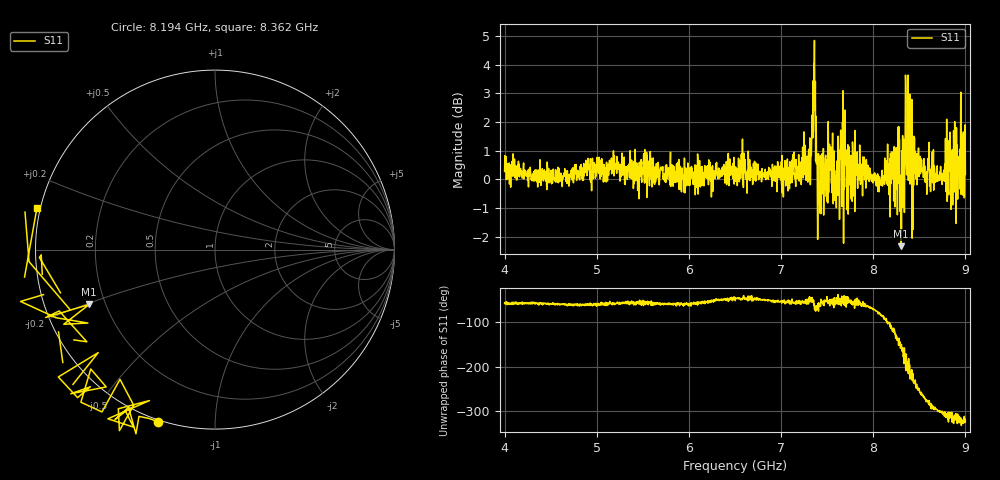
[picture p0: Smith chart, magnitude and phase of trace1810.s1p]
! Created with skrf 1.8.0 (http://scikit-rf.org).
# Hz S RI R 50.0
!freq ReS11 ImS11
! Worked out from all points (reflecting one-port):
!   1601 points, 4 GHz to 9 GHz, reference 50 ohm
!   lowest |S11| = -2.3 dB at 8.3 GHz (marker M1), VSWR 7.51, Z = 6.94 - j10.2 ohm
!   phase of S11 starts at -57 deg and turns -265 deg over the sweep
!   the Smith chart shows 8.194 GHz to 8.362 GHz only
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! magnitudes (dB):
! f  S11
! 4 GHz  0.3
! 4.625 GHz  -0.2
! 5.25 GHz  0.0
! 5.875 GHz  0.4
! 6.5 GHz  0.3
! 7.125 GHz  0.8
! 7.297 GHz  0.9
! 7.356 GHz  4.0
! 7.369 GHz  2.4
! 7.4 GHz  -0.7
! 7.419 GHz  -0.1
! 7.534 GHz  0.3
! 7.591 GHz  0.1
! 7.65 GHz  1.2
! 7.75 GHz  -0.2
! 7.828 GHz  0.0
! 8.075 GHz  0.0
! 8.262 GHz  -1.2
! 8.3 GHz  -2.3
! 8.316 GHz  -0.1
! 8.334 GHz  1.4
! 8.375 GHz  0.9
! 8.447 GHz  1.5
! 8.466 GHz  0.0
! 8.562 GHz  -0.1
! 8.734 GHz  0.0
! 8.953 GHz  -0.5
! 9 GHz  0.2
